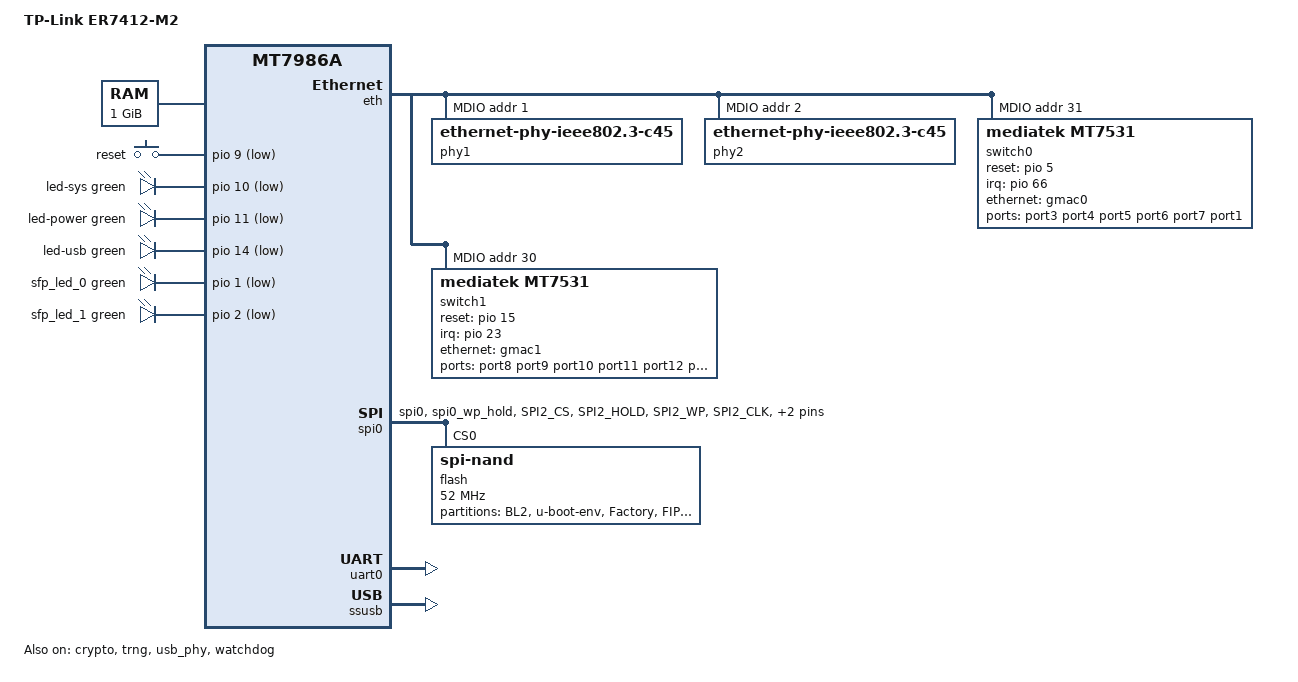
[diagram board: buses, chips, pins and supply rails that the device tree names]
// SPDX-License-Identifier: GPL-2.0-or-later OR MIT

/dts-v1/;
#include <dt-bindings/gpio/gpio.h>
#include <dt-bindings/input/input.h>
#include <dt-bindings/leds/common.h>
#include <dt-bindings/pinctrl/mt65xx.h>

#include "mt7986a.dtsi"

/ {
	compatible = "tplink,er7412-m2", "mediatek,mt7986a";
	model = "TP-Link ER7412-M2";

	aliases {
		serial0 = &uart0;
	};

        chosen {
		stdout-path = "serial0:115200n8";
	};

	memory@40000000 {
		reg = <0 0x40000000 0 0x40000000>;
		device_type = "memory";
        };

	gpio-keys {
		compatible = "gpio-keys";

		button-reset {
			label = "reset";
			linux,code = <KEY_RESTART>;
			gpios = <&pio 9 GPIO_ACTIVE_LOW>;
		};
	};

	gpio-leds {
		compatible = "gpio-leds";

		led-sys {
			function = LED_FUNCTION_STATUS;
			color = <LED_COLOR_ID_GREEN>;
			gpios = <&pio 10 GPIO_ACTIVE_LOW>;
		};

		led-power {
			function = LED_FUNCTION_POWER;
			color = <LED_COLOR_ID_GREEN>;
			gpios = <&pio 11 GPIO_ACTIVE_LOW>;
		};

		led-usb {
			function = LED_FUNCTION_USB;
			color = <LED_COLOR_ID_GREEN>;
			gpios = <&pio 14 GPIO_ACTIVE_LOW>;
		};

		led-sfp0 {
			label = "sfp_led_0";
			color = <LED_COLOR_ID_GREEN>;
			gpios = <&pio 1 GPIO_ACTIVE_LOW>;
		};

		led-sfp1 {
			label = "sfp_led_1";
			color = <LED_COLOR_ID_GREEN>;
			gpios = <&pio 2 GPIO_ACTIVE_LOW>;
		};
	};
};

&crypto {
	status = "okay";
};

&eth {
	status = "okay";

	gmac0: mac@0 {
		compatible = "mediatek,eth-mac";
		reg = <0>;
		phy-mode = "2500base-x";

		fixed-link {
			speed = <2500>;
			full-duplex;
			pause;
		};
	};

	gmac1: mac@1 {
		compatible = "mediatek,eth-mac";
		reg = <1>;
		phy-mode = "2500base-x";

		fixed-link {
			speed = <2500>;
			full-duplex;
			pause;
		};
	};

	mdio: mdio-bus {
		#address-cells = <1>;
		#size-cells = <0>;
	};

};

&mdio {
	phy1: phy@1 {
		compatible = "ethernet-phy-ieee802.3-c45";
		reg = <1>;
		realtek,aldps-enable;
	};

	phy2: phy@2 {
		compatible = "ethernet-phy-ieee802.3-c45";
		reg = <2>;
		realtek,aldps-enable;
	};

	switch0: switch@1f {
		compatible = "mediatek,mt7531";
		reg = <31>;
		reset-gpios = <&pio 5 GPIO_ACTIVE_HIGH>;
		interrupt-controller;
		#interrupt-cells = <1>;
		interrupt-parent = <&pio>;
		interrupts = <66 IRQ_TYPE_LEVEL_HIGH>;
	};

	switch1: switch@1e {
		compatible = "mediatek,mt7531";
		reg = <30>;
		reset-gpios = <&pio 15 GPIO_ACTIVE_HIGH>;
		interrupt-controller;
		#interrupt-cells = <1>;
		interrupt-parent = <&pio>;
		interrupts = <23 IRQ_TYPE_LEVEL_HIGH>;
	};
};

&switch0 {
	ports {
		#address-cells = <1>;
		#size-cells = <0>;

		port@0 {
			reg = <0>;
			label = "port3";
		};

		port@1 {
			reg = <1>;
			label = "port4";
		};

		port@2 {
			reg = <2>;
			label = "port5";
		};

		port@3 {
			reg = <3>;
			label = "port6";
		};

		port@4 {
			reg = <4>;
			label = "port7";
		};

		port@5 {
			reg = <5>;
			label = "port1";
			phy-handle = <&phy1>;
			phy-mode = "2500base-x";
		};

		port@6 {
			reg = <6>;
			ethernet = <&gmac0>;
			phy-mode = "2500base-x";

			fixed-link {
				speed = <2500>;
				full-duplex;
				pause;
			};
		};
	};
};

&switch1 {
	ports {
		#address-cells = <1>;
		#size-cells = <0>;

		port@0 {
			reg = <0>;
			label = "port8";
		};

		port@1 {
			reg = <1>;
			label = "port9";
		};

		port@2 {
			reg = <2>;
			label = "port10";
		};

		port@3 {
			reg = <3>;
			label = "port11";
		};

		port@4 {
			reg = <4>;
			label = "port12";
		};

		port@5 {
			reg = <5>;
			label = "port2";
			phy-handle = <&phy2>;
			phy-mode = "2500base-x";
		};

		port@6 {
			reg = <6>;
			ethernet = <&gmac1>;
			phy-mode = "2500base-x";

			fixed-link {
				speed = <2500>;
				full-duplex;
				pause;
			};
		};
	};
};

&pio {
	spi_flash_pins: spi-flash-pins-33-to-38 {
		mux {
			function = "spi";
			groups = "spi0", "spi0_wp_hold";
		};
		conf-pu {
			pins = "SPI2_CS", "SPI2_HOLD", "SPI2_WP";
			drive-strength = <MTK_DRIVE_8mA>;
			bias-disable; /* bias-disable */
		};
		conf-pd {
			pins = "SPI2_CLK", "SPI2_MOSI", "SPI2_MISO";
			drive-strength = <MTK_DRIVE_8mA>;
			bias-disable; /* bias-disable */
		};
	};
};

&spi0 {
	pinctrl-names = "default";
        pinctrl-0 = <&spi_flash_pins>;
        status = "okay";

	flash@0 {
		compatible = "spi-nand";
		reg = <0>;

		spi-max-frequency = <52000000>;
		spi-tx-buswidth = <4>;
		spi-rx-buswidth = <4>;

		partitions {
			compatible = "fixed-partitions";
			#address-cells = <1>;
			#size-cells = <1>;

			partition@0 {
				label = "BL2";
				reg = <0x0000000 0x0100000>;
				read-only;
			};

			partition@100000 {
				label = "u-boot-env";
				reg = <0x0100000 0x0080000>;
			};

			partition@180000 {
				label = "Factory";
				reg = <0x0180000 0x0200000>;
				read-only;
			};

			partition@380000 {
				label = "FIP";
				reg = <0x0380000 0x0200000>;
				read-only;
			};

			partition@580000 {
				label = "ubi";
				reg = <0x0580000 0x7280000>;
				compatible = "linux,ubi";

				volumes {
					ubi_rootdisk: ubi-volume-fit {
						volname = "fit";
					};
				};
			};
		};
	};
};

&trng {
	status = "okay";
};

&uart0 {
	status = "okay";
};

&usb_phy {
	status = "okay";
};

&ssusb {
	status = "okay";
};

&watchdog {
	status = "okay";
};
